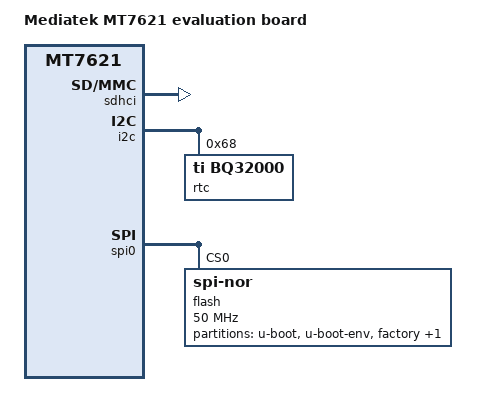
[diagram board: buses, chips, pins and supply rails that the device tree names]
#include "mt7621.dtsi"

/ {
	compatible = "mediatek,mt7621-eval-board", "mediatek,mt7621-soc";
	model = "Mediatek MT7621 evaluation board";
};

&nand {
	status = "disabled"; /* Changed from okay to disabled */
};

&sdhci {
    status = "okay";
    pinctrl-names = "default";
    pinctrl-0 = <&sdhci_pins>;
};

&ethernet {
	pinctrl-0 = <&mdio_pins>, <&rgmii1_pins>;
};

&switch0 {
	ports {
		port@0 {
			status = "disabled";
		};

		/* 攝影機連接埠 */
		port@1 {
			status = "okay";
			label = "cam";
		};

		port@2 {
			status = "disabled";
		};

		port@3 {
			status = "disabled";
		};

		/* 外部 RJ45 網路孔 */
		port@4 {
			status = "okay";
			label = "lan";
		};

		/* CPU 連結埠 (必須開啟，否則上面兩個埠都無法通訊) */
		port@6 {
			status = "okay";
			label = "cpu";
			ethernet = <&ethernet>; // <-- 這裡從 &eth0 改成 &ethernet

			fixed-link {
				speed = <1000>;
				full-duplex;
				pause;
			};
		};
	};
};

&state_default {
	gpio {
		/* REMOVED "sdhci" from the list below */
		/* Correct: We removed "i2c" and "uart2" etc. from here */
		groups = "uart3", "rgmii2"; 
		function = "gpio";
	};

	/* ADD THIS: Explicitly disable JTAG to free up Pin 41 */
	jtag {
		groups = "jtag";
		function = "gpio";
	};
};

&i2c {
    status = "okay";

    pinctrl-names = "default";
    pinctrl-0 = <&i2c_pins>;

    rtc@68 {
        compatible = "ti,bq32000";
        reg = <0x68>;
    };
};

&spi0 {
	status = "okay";

	flash@0 {
		compatible = "jedec,spi-nor";
		reg = <0>;
		spi-max-frequency = <50000000>; /* 50MHz */
		
		/* These two lines fix the "Bad cell count" warning */
		#address-cells = <1>;
		#size-cells = <1>;
    
		/* Use 4-byte opcodes instead of entering 4-byte mode */
		m25p,fast-read; 

		partitions {
			compatible = "fixed-partitions";
			#address-cells = <1>;
			#size-cells = <1>;

			partition@0 {
				label = "u-boot";
				reg = <0x0 0x30000>;
				read-only;
			};

			partition@30000 {
				label = "u-boot-env";
				reg = <0x30000 0x10000>;
				read-only;
			};

			factory: partition@40000 {
				label = "factory";
				reg = <0x40000 0x10000>;
				read-only;
			};

			partition@50000 {
				compatible = "denx,uimage";
				label = "firmware";
				reg = <0x50000 0x1fb0000>;
			};
		};
	};
};

